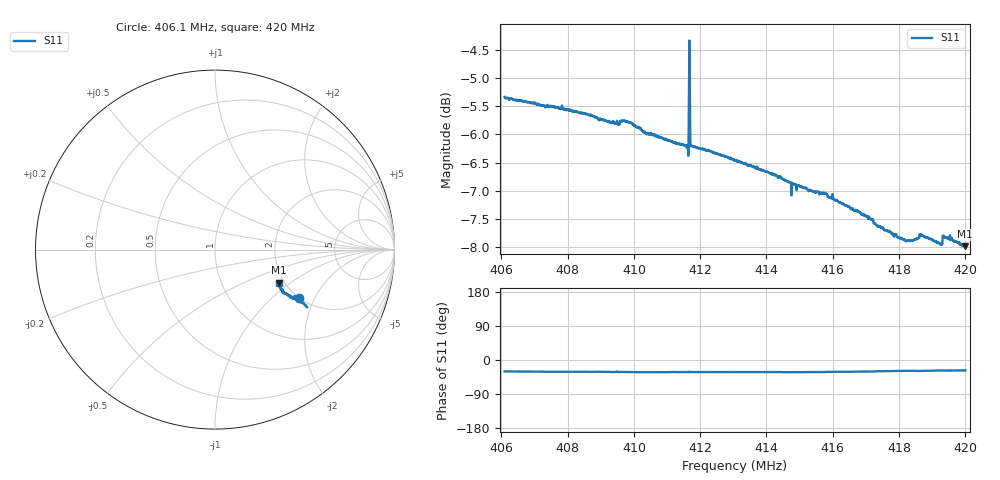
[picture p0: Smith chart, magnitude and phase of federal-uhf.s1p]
! Calibrated averaged scanner-service zoom
# Hz S RI R 50
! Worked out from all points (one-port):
!   2001 points, 406.1 MHz to 420 MHz, reference 50 ohm
!   lowest |S11| = -8.0 dB at 419.99 MHz (marker M1), VSWR 2.33, Z = 93.2 - j40.8 ohm
!   |S11| at or under -10 dB: nowhere
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4.061e8  0.4678 -0.2714
4.078375e8  0.4527 -0.2716
4.093943e8  0.437 -0.2696
4.094846e8  0.4448 -0.2595
4.09575e8  0.436 -0.2682
4.099434e8  0.4346 -0.2709
4.10409e8  0.4251 -0.2664
4.113125e8  0.4171 -0.26
4.115766e8  0.4155 -0.258
4.115905e8  0.4156 -0.2575
4.116114e8  0.4164 -0.259
4.116252e8  0.4141 -0.2559
4.117226e8  0.4165 -0.2577
4.117364e8  0.4164 -0.2582
4.117642e8  0.4157 -0.2579
4.117782e8  0.4159 -0.2576
4.1305e8  0.4036 -0.2515
4.142593e8  0.3924 -0.2435
4.147875e8  0.384 -0.2404
4.157327e8  0.3777 -0.2341
4.159064e8  0.3767 -0.2286
4.16525e8  0.3706 -0.2213
4.182625e8  0.3543 -0.1934
4.186864e8  0.3579 -0.1965
4.192355e8  0.3553 -0.1854
4.193814e8  0.3591 -0.1896
4.19993e8  0.354 -0.1841
4.2e8  0.3549 -0.1834
